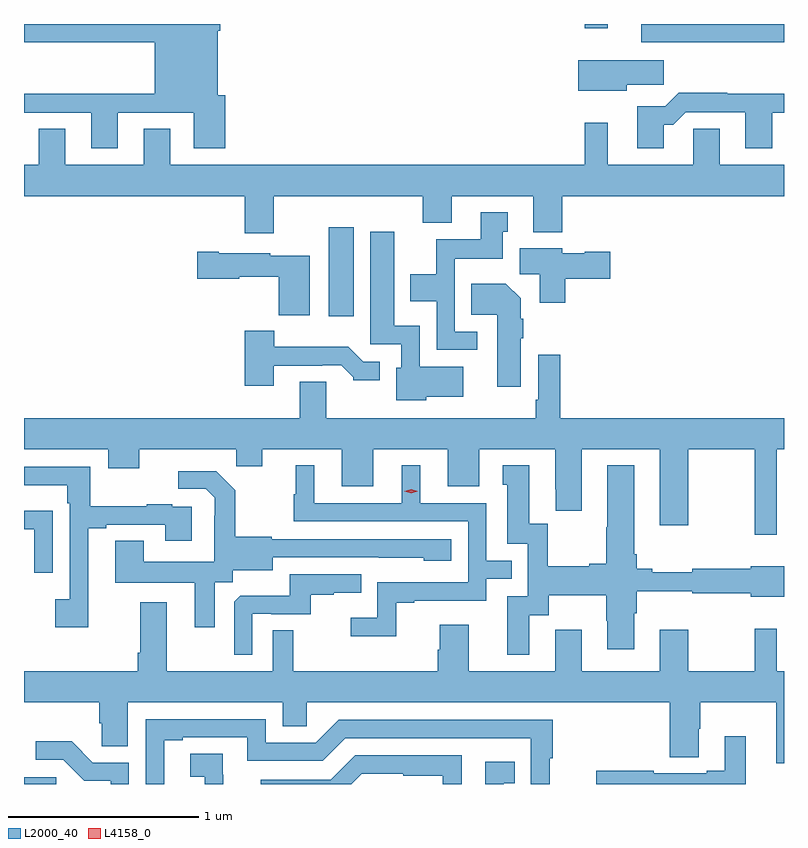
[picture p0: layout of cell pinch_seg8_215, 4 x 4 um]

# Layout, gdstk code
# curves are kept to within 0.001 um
import gdstk
lib = gdstk.Library(unit=1e-6, precision=1e-09)
def R(c, l, rs):  # rectangles x0, y0, x1, y1
    for r in rs: c.add(gdstk.rectangle(r[:2], r[2:], *l))
def P(c, l, *ps):  # polygons
    for p in ps: c.add(gdstk.Polygon(p, *l))
L2000_40 = (2000, 40)
L4158_0 = (4158, 0)

pinch_seg8_215 = lib.new_cell('pinch_seg8_215')
R(pinch_seg8_215, L2000_40, [(662.37,1120.066,662.541,1120.101), (663.974,1122.528,664.105,1122.997), (665.618,1123.97,666.37,1124.066), (665.322,1124.043,665.443,1124.066)])
P(pinch_seg8_215, L2000_40, [(662.863,1123.599),(663.263,1123.599),(663.263,1123.413),(663.428,1123.413),(663.428,1123.692),(663.391,1123.692),(663.391,1124.03),(663.404,1124.03),(663.404,1124.066),(662.37,1124.066),(662.37,1123.97),(663.059,1123.97),(663.059,1123.7),(662.37,1123.7),(662.37,1123.599),(662.723,1123.599),(662.723,1123.413),(662.863,1123.413)],
  [(665.542,1123.747),(665.737,1123.747),(665.737,1123.876),(665.288,1123.876),(665.288,1123.715),(665.542,1123.715)],
  [(665.737,1123.535),(665.786,1123.535),(665.853,1123.602),(666.167,1123.602),(666.167,1123.413),(666.307,1123.413),(666.307,1123.599),(666.37,1123.599),(666.37,1123.7),(666.071,1123.7),(666.071,1123.703),(665.816,1123.703),(665.746,1123.633),(665.597,1123.633),(665.597,1123.413),(665.737,1123.413)],
  [(663.685,1123.16),(664.469,1123.16),(664.469,1123.019),(664.621,1123.019),(664.621,1123.16),(665.051,1123.16),(665.051,1122.971),(665.204,1122.971),(665.204,1123.16),(666.37,1123.16),(666.37,1123.324),(666.031,1123.324),(666.031,1123.514),(665.892,1123.514),(665.892,1123.324),(665.443,1123.324),(665.443,1123.546),(665.322,1123.546),(665.322,1123.324),(663.139,1123.324),(663.139,1123.514),(662.999,1123.514),(662.999,1123.324),(662.587,1123.324),(662.587,1123.514),(662.447,1123.514),(662.447,1123.324),(662.37,1123.324),(662.37,1123.16),(663.533,1123.16),(663.533,1122.966),(663.685,1122.966)],
  [(664.756,1122.447),(664.638,1122.447),(664.638,1122.83),(664.891,1122.83),(664.891,1122.972),(664.915,1122.972),(664.915,1123.075),(664.775,1123.075),(664.775,1122.934),(664.54,1122.934),(664.54,1122.748),(664.403,1122.748),(664.403,1122.608),(664.542,1122.608),(664.542,1122.351),(664.756,1122.351)],
  [(664.488,1122.104),(664.681,1122.104),(664.681,1122.262),(664.452,1122.262),(664.452,1122.478),(664.318,1122.478),(664.318,1122.973),(664.193,1122.973),(664.193,1122.381),(664.356,1122.381),(664.356,1122.258),(664.328,1122.258),(664.328,1122.086),(664.488,1122.086)],
  [(665.219,1122.725),(665.455,1122.725),(665.455,1122.867),(665.322,1122.867),(665.322,1122.859),(665.202,1122.859),(665.202,1122.886),(664.979,1122.886),(664.979,1122.748),(665.084,1122.748),(665.084,1122.6),(665.219,1122.6)],
  [(663.874,1122.847),(663.666,1122.847),(663.666,1122.859),(663.394,1122.859),(663.394,1122.867),(663.282,1122.867),(663.282,1122.725),(663.504,1122.725),(663.504,1122.737),(663.712,1122.737),(663.712,1122.533),(663.874,1122.533)],
  [(664.984,1122.412),(664.997,1122.412),(664.997,1122.515),(664.984,1122.515),(664.984,1122.622),(664.906,1122.7),(664.723,1122.7),(664.723,1122.536),(664.862,1122.536),(664.862,1122.156),(664.984,1122.156)],
  [(663.685,1122.267),(663.941,1122.267),(663.941,1122.27),(664.04,1122.27),(664.104,1122.206),(664.104,1122.191),(664.243,1122.191),(664.243,1122.288),(664.155,1122.288),(664.077,1122.367),(663.688,1122.367),(663.688,1122.451),(663.533,1122.451),(663.533,1122.162),(663.685,1122.162)],
  [(666.331,1121.828),(666.37,1121.828),(666.37,1121.992),(665.192,1121.992),(665.192,1122.325),(665.076,1122.325),(665.076,1122.088),(665.064,1122.088),(665.064,1121.992),(663.961,1121.992),(663.961,1122.182),(663.821,1122.182),(663.821,1121.992),(662.37,1121.992),(662.37,1121.828),(662.813,1121.828),(662.813,1121.729),(662.977,1121.729),(662.977,1121.828),(663.487,1121.828),(663.487,1121.738),(663.625,1121.738),(663.625,1121.828),(664.043,1121.828),(664.043,1121.634),(664.207,1121.634),(664.207,1121.828),(664.601,1121.828),(664.601,1121.634),(664.765,1121.634),(664.765,1121.828),(665.165,1121.828),(665.165,1121.617),(665.168,1121.617),(665.168,1121.505),(665.305,1121.505),(665.305,1121.828),(665.717,1121.828),(665.717,1121.427),(665.865,1121.427),(665.865,1121.828),(666.217,1121.828),(666.217,1121.379),(666.331,1121.379)],
  [(665.029,1120.954),(665.131,1120.954),(665.131,1121.06),(665.434,1121.06),(665.434,1120.926),(665.441,1120.926),(665.441,1120.776),(665.581,1120.776),(665.581,1120.964),(665.594,1120.964),(665.594,1121.081),(665.888,1121.081),(665.888,1121.07),(666.194,1121.07),(666.194,1121.051),(666.37,1121.051),(666.37,1121.212),(666.194,1121.212),(666.194,1121.198),(665.888,1121.198),(665.888,1121.181),(665.677,1121.181),(665.677,1121.198),(665.594,1121.198),(665.594,1121.275),(665.581,1121.275),(665.581,1121.743),(665.441,1121.743),(665.441,1121.417),(665.434,1121.417),(665.434,1121.225),(665.345,1121.225),(665.345,1121.212),(665.127,1121.212),(665.127,1121.435),(665.029,1121.435),(665.029,1121.743),(664.889,1121.743),(664.889,1121.64),(664.913,1121.64),(664.913,1121.331),(665.022,1121.331),(665.022,1121.055),(664.913,1121.055),(664.913,1120.746),(665.029,1120.746)],
  [(664.329,1121.019),(664.423,1121.019),(664.423,1121.031),(664.803,1121.031),(664.803,1121.145),(664.937,1121.145),(664.937,1121.241),(664.803,1121.241),(664.803,1121.544),(664.456,1121.544),(664.456,1121.743),(664.358,1121.743),(664.358,1121.544),(663.898,1121.544),(663.898,1121.743),(663.8,1121.743),(663.8,1121.592),(663.789,1121.592),(663.789,1121.448),(664.707,1121.448),(664.707,1121.127),(664.23,1121.127),(664.23,1120.942),(664.089,1120.942),(664.089,1120.844),(664.329,1120.844)],
  [(662.707,1121.412),(662.803,1121.412),(662.803,1121.43),(663.113,1121.43),(663.113,1121.346),(663.253,1121.346),(663.253,1121.526),(663.149,1121.526),(663.149,1121.539),(663.017,1121.539),(663.017,1121.528),(662.719,1121.528),(662.719,1121.736),(662.37,1121.736),(662.37,1121.639),(662.598,1121.639),(662.598,1121.543),(662.61,1121.543),(662.61,1121.038),(662.535,1121.038),(662.535,1120.89),(662.707,1120.89)],
  [(663.373,1121.128),(663.468,1121.128),(663.468,1121.192),(663.679,1121.192),(663.679,1121.259),(664.473,1121.258),(664.473,1121.24),(664.618,1121.24),(664.618,1121.355),(663.675,1121.355),(663.675,1121.368),(663.483,1121.368),(663.483,1121.613),(663.383,1121.713),(663.183,1121.713),(663.183,1121.619),(663.327,1121.619),(663.374,1121.572),(663.374,1121.477),(663.372,1121.477),(663.372,1121.236),(663.001,1121.236),(663.001,1121.345),(662.849,1121.345),(662.849,1121.126),(663.269,1121.126),(663.269,1120.89),(663.373,1120.89)],
  [(662.52,1121.503),(662.37,1121.503),(662.37,1121.406),(662.424,1121.406),(662.424,1121.178),(662.52,1121.178)],
  [(663.57,1120.962),(663.67,1120.962),(663.67,1120.959),(663.878,1120.959),(663.878,1121.061),(664.001,1121.061),(664.001,1121.072),(664.145,1121.072),(664.145,1121.169),(663.768,1121.169),(663.768,1121.057),(663.509,1121.057),(663.477,1121.025),(663.477,1120.745),(663.57,1120.745)],
  [(666.37,1120.66),(666.331,1120.66),(666.331,1120.882),(666.217,1120.882),(666.217,1120.66),(665.865,1120.66),(665.865,1120.879),(665.717,1120.879),(665.717,1120.66),(665.305,1120.66),(665.305,1120.879),(665.165,1120.879),(665.165,1120.66),(664.711,1120.66),(664.711,1120.903),(664.559,1120.903),(664.559,1120.773),(664.547,1120.773),(664.547,1120.66),(663.787,1120.66),(663.787,1120.874),(663.678,1120.874),(663.678,1120.66),(663.121,1120.66),(663.121,1121.023),(662.981,1121.023),(662.981,1120.756),(662.969,1120.756),(662.969,1120.66),(662.37,1120.66),(662.37,1120.496),(662.765,1120.496),(662.765,1120.387),(662.778,1120.387),(662.778,1120.264),(662.917,1120.264),(662.917,1120.496),(663.731,1120.496),(663.731,1120.369),(663.858,1120.369),(663.858,1120.496),(665.768,1120.496),(665.768,1120.207),(665.92,1120.207),(665.92,1120.358),(665.928,1120.358),(665.928,1120.496),(666.329,1120.496),(666.329,1120.176),(666.37,1120.176)],
  [(663.109,1120.296),(663.205,1120.296),(663.205,1120.311),(663.546,1120.311),(663.546,1120.188),(663.942,1120.188),(664.062,1120.308),(665.037,1120.308),(665.037,1120.066),(665.136,1120.066),(665.136,1120.201),(665.153,1120.201),(665.153,1120.404),(664.026,1120.404),(663.906,1120.284),(663.642,1120.284),(663.642,1120.407),(663.012,1120.407),(663.012,1120.066),(663.109,1120.066)],
  [(666.169,1120.318),(666.059,1120.318),(666.059,1120.135),(665.963,1120.135),(665.963,1120.122),(665.684,1120.122),(665.684,1120.135),(665.383,1120.135),(665.383,1120.066),(666.169,1120.066)],
  [(662.922,1120.179),(662.733,1120.179),(662.62,1120.292),(662.433,1120.292),(662.433,1120.194),(662.577,1120.194),(662.688,1120.083),(662.826,1120.083),(662.826,1120.066),(662.922,1120.066)],
  [(663.418,1120.115),(663.416,1120.115),(663.416,1120.226),(663.246,1120.226),(663.246,1120.105),(663.32,1120.105),(663.32,1120.066),(663.418,1120.066)],
  [(664.148,1120.121),(664.367,1120.121),(664.367,1120.11),(664.573,1120.11),(664.573,1120.066),(664.674,1120.066),(664.674,1120.218),(664.113,1120.218),(663.984,1120.089),(663.617,1120.089),(663.617,1120.066),(664.093,1120.066)],
  [(664.894,1120.07),(664.952,1120.07),(664.952,1120.183),(664.797,1120.183),(664.797,1120.066),(664.894,1120.066)])
P(pinch_seg8_215, L4158_0, [(664.407,1121.597),(664.371,1121.607),(664.371,1121.607),(664.371,1121.607),(664.407,1121.617),(664.443,1121.607),(664.443,1121.607),(664.443,1121.607)])

lib.write_gds('pinch_seg8_215.gds')
